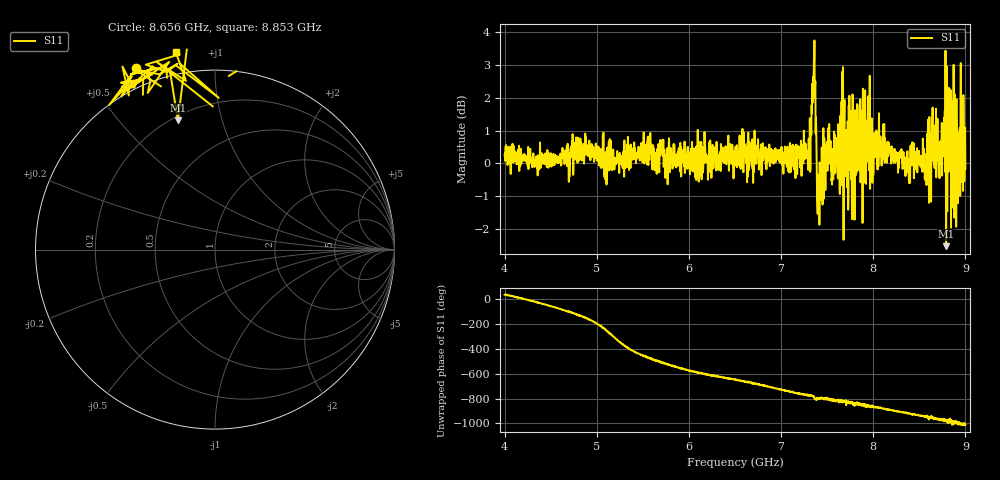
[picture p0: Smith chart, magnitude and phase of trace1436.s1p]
! Created with skrf 1.8.0 (http://scikit-rf.org).
# Hz S RI R 50.0
!freq ReS11 ImS11
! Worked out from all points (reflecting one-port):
!   1601 points, 4 GHz to 9 GHz, reference 50 ohm
!   lowest |S11| = -2.5 dB at 8.791 GHz (marker M1), VSWR 6.95, Z = 11.1 + j36.4 ohm
!   phase of S11 starts at 36 deg and turns -1047 deg over the sweep
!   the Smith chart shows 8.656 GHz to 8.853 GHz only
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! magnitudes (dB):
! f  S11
! 4 GHz  0.2
! 4.625 GHz  0.3
! 5.25 GHz  0.3
! 5.875 GHz  -0.1
! 6.5 GHz  0.2
! 7.125 GHz  0.1
! 7.294 GHz  -0.2
! 7.356 GHz  3.2
! 7.412 GHz  -0.8
! 7.509 GHz  0.3
! 7.566 GHz  -0.5
! 7.669 GHz  1.9
! 7.75 GHz  0.3
! 7.784 GHz  0.8
! 7.847 GHz  0.6
! 7.909 GHz  0.9
! 7.962 GHz  2.7
! 7.991 GHz  -0.6
! 8.375 GHz  -0.2
! 8.428 GHz  0.1
! 8.581 GHz  -0.3
! 8.656 GHz  0.8
! 8.728 GHz  0.7
! 8.791 GHz  -2.5
! 8.834 GHz  1.9
! 8.919 GHz  -0.2
! 8.972 GHz  0.6
! 9 GHz  -0.2
